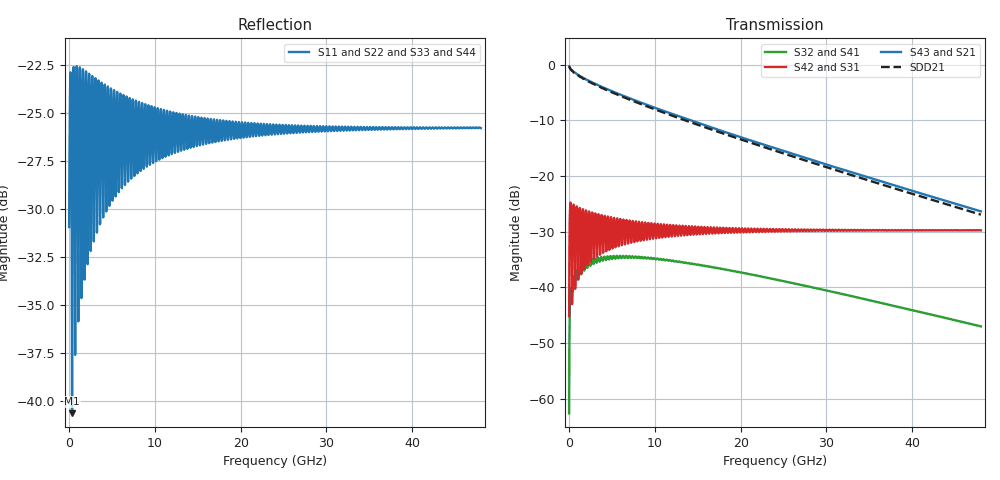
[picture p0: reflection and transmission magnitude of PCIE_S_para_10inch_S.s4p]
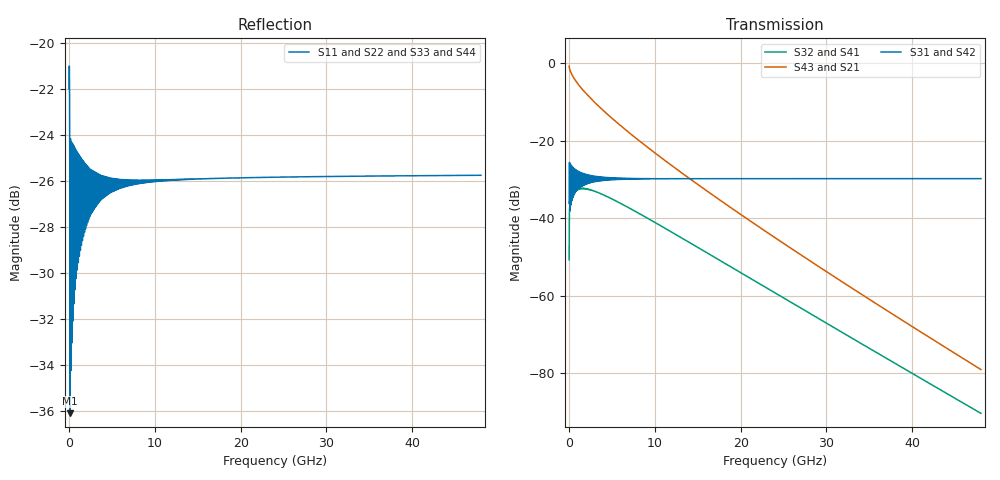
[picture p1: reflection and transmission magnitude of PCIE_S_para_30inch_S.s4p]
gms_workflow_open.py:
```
"""
GMS Extraction Tool (Generalized Modal S-parameters)
====================================================

Description:
    This script implements the Generalized Modal S-parameters (GMS) extraction method.
    It supports two modes:
    1. Dual Line De-embedding: Extracts GMS from two transmission lines (Short & Long).
       Method: M = T_long * inv(T_short) -> Eigenvalue Decomposition
    2. Single Line Mode: Analyzes a single transmission line (mostly for verification).
       Method: Eigenvalue Decomposition of T-matrix

    本脚本实现了通用模态 S 参数 (GMS) 提取方法。
    支持两种模式：
    1. 双线去嵌模式：从两条传输线（短线和长线）提取 GMS。
       原理：M = T_long * inv(T_short) -> 特征值分解
    2. 单线模式：分析单条传输线（主要用于验证）。
       原理：T 矩阵的特征值分解

Author: [Your Name/GitHub Username]
License: MIT License
Date: 2026-02-26
"""

import argparse
import datetime
import os
import sys

import matplotlib.pyplot as plt
import numpy as np
import skrf as rf

# ==========================================
# 默认配置区域 / Default Configuration
# ==========================================
# 获取脚本所在目录，确保默认文件路径正确
# Get script directory to ensure default file paths are correct
SCRIPT_DIR = os.path.dirname(os.path.abspath(__file__))

# 如果不使用命令行参数，将使用以下默认值
# If command line arguments are not provided, these defaults are used.

# 默认启用双线去嵌模式 / Default to Dual Line De-embedding
DEFAULT_ENABLE_DEEMBBEDDING = False

# 默认文件名 / Default Filenames
DEFAULT_SHORT = os.path.join(SCRIPT_DIR, 'PCIE_S_para_10inch_S.s4p')
DEFAULT_LONG = os.path.join(SCRIPT_DIR, 'PCIE_S_para_30inch_S.s4p')
DEFAULT_SINGLE = os.path.join(SCRIPT_DIR, 'PCIE_S_para_10inch_S.s4p')
# ==========================================


def setup_args():
    """配置命令行参数 / Setup command line arguments"""
    parser = argparse.ArgumentParser(
        description="GMS Parameters Extraction Tool / GMS 参数提取工具"
    )
    
    # Mode selection
    mode_group = parser.add_mutually_exclusive_group()
    mode_group.add_argument('--dual', action='store_true', help='Enable Dual Line De-embedding mode (Default if files provided)')
    mode_group.add_argument('--single', action='store_true', help='Enable Single Line mode')

    # File paths
    parser.add_argument('--short', type=str, default=DEFAULT_SHORT, help='Path to Short Line .s4p file')
    parser.add_argument('--long', type=str, default=DEFAULT_LONG, help='Path to Long Line .s4p file')
    parser.add_argument('--target', type=str, default=DEFAULT_SINGLE, help='Path to Single Line .s4p file (for single mode)')
    
    parser.add_argument('--no-plot', action='store_true', help='Disable plotting / 禁用绘图')

    return parser.parse_args()


def load_network(file_path):
    """安全加载 Touchstone 文件 / Safely load Touchstone file"""
    if not os.path.exists(file_path):
        raise FileNotFoundError(f"File not found: {file_path}")
    
    try:
        nw = rf.Network(file_path)
        print(f"  [LOADED] {os.path.basename(file_path)} | Points: {len(nw.f)} | Ports: {nw.nports}")
        return nw
    except Exception as e:
        raise ValueError(f"Failed to load {file_path}. Error: {e}")


def convert_to_diff_sdd(nw):
    """
    将 4 端口网络转换为差分 Sdd 参数。
    Handle Single-Ended vs. Differential logic.
    Assumed Port Mapping: P:1,3 (Input) -> P:2,4 (Output) which is non-standard.
    We convert it to standard skrf expectation.
    """
    if nw.nports == 2:
        return nw.s
    elif nw.nports == 4:
        # P: 1(0)-2(1), N: 3(2)-4(3) -> Standard: In(0,2)->Diff1, Out(1,3)->Diff2
        # Permutation to [0, 2, 1, 3] converts user mapping to skrf expected mapping
        perm = [0, 2, 1, 3]
        s_orig = nw.s
        s_perm = s_orig[:, perm, :][:, :, perm]
        
        nw_perm = rf.Network(frequency=nw.frequency, s=s_perm)
        nw_perm.se2gmm(p=2)
        # Extract Sdd (differential-to-differential) which is the first 2x2 block
        return nw_perm.s[:, 0:2, 0:2]
    else:
        raise ValueError(f"Unsupported number of ports: {nw.nports}. Only 2 and 4 supported.")


def calculate_eigenvalues(t_matrix_series):
    """
    计算 T 矩阵序列的特征值
    Compute eigenvalues for a series of T-matrices
    """
    num_points = len(t_matrix_series)
    lambda_forward = np.zeros(num_points, dtype=complex)
    
    for i in range(num_points):
        T = t_matrix_series[i]
        try:
            eigenvalues = np.linalg.eigvals(T)
            # Select eigenvalue with magnitude <= 1 (passive forward transmission)
            # sorting by magnitude usually works for passive lines
            # abs(e^-gamma*L) <= 1
            if np.abs(eigenvalues[0]) < np.abs(eigenvalues[1]):
                lambda_forward[i] = eigenvalues[0]
            else:
                lambda_forward[i] = eigenvalues[1]
        except np.linalg.LinAlgError:
            lambda_forward[i] = np.nan + 1j * np.nan
            
    return lambda_forward


def extract_gms_single(file_path):
    """Single Line Extraction Logic"""
    print(f"--- Single Line Mode: {file_path} ---")
    nw = load_network(file_path)
    freq = nw.f
    
    # 1. Get Sdd
    s_mat = convert_to_diff_sdd(nw)
    
    # 2. S -> T
    t_mat = rf.s2t(s_mat)
    
    # 3. Eigenvalues
    lambda_forward = calculate_eigenvalues(t_mat)
    
    return freq, lambda_forward


def extract_gms_dual(file_short_path, file_long_path):
    """Dual Line De-embedding Logic"""
    print(f"--- Dual Line Mode ---\n  Short: {file_short_path}\n  Long:  {file_long_path}")
    nw_short = load_network(file_short_path)
    nw_long = load_network(file_long_path)
    
    if not np.array_equal(nw_short.f, nw_long.f):
        raise ValueError("Frequency mismatch between Short and Long files.")
    
    freq = nw_short.f
    
    # 1. Get Sdd
    s_short = convert_to_diff_sdd(nw_short)
    s_long = convert_to_diff_sdd(nw_long)
    
    # 2. S -> T
    t_short = rf.s2t(s_short)
    t_long = rf.s2t(s_long)
    
    # 3. De-embedding (M = T_long * inv(T_short))
    num_points = len(freq)
    m_series = np.zeros_like(t_long)
    
    for i in range(num_points):
        try:
            t1_inv = np.linalg.inv(t_short[i])
            m_series[i] = np.matmul(t_long[i], t1_inv)
        except np.linalg.LinAlgError:
             # Identity matrix as fallback or NaN
            m_series[i] = np.eye(2) 
            
    # 4. Eigenvalues of M
    lambda_forward = calculate_eigenvalues(m_series)
    
    return freq, lambda_forward


def save_results(script_dir, freq, lambda_forward, base_name, suffix):
    """Save results to .s4p file"""
    # Create GMS S-matrix (S21=S12=S34=S43=lambda, others=0)
    num_points = len(freq)
    s_gms = np.zeros((num_points, 4, 4), dtype=complex)
    
    # Map lambda to transmission parameters
    # S21 (1,0), S12 (0,1), S43 (3,2), S34 (2,3)
    s_gms[:, 1, 0] = lambda_forward
    s_gms[:, 0, 1] = lambda_forward
    s_gms[:, 3, 2] = lambda_forward
    s_gms[:, 2, 3] = lambda_forward
    
    nw_gms = rf.Network(frequency=rf.Frequency.from_f(freq, unit='hz'), s=s_gms)
    
    timestamp_str = datetime.datetime.now().strftime("%Y%m%d_%H%M%S")
    output_filename = f"{timestamp_str}_{base_name}_{suffix}.s4p"
    output_path = os.path.join(script_dir, output_filename)
    
    nw_gms.write_touchstone(output_path)
    print(f"\n[SUCCESS] GMS parameters saved to:\n  -> {output_path}")
    return output_path


def plot_results(freq, lambda_forward, title_suffix):
    """Plot Magnitude and Phase"""
    mag_db = 20 * np.log10(np.abs(lambda_forward) + 1e-15)
    # Phase unwrapping and wrapping to 360
    phase_rad = np.unwrap(np.angle(lambda_forward))
    phase_deg = np.degrees(phase_rad) % 360
    
    freq_ghz = freq / 1e9
    
    fig, (ax1, ax2) = plt.subplots(2, 1, figsize=(10, 8))
    
    ax1.plot(freq_ghz, mag_db, label='GMS S21', color='#1f77b4')
    ax1.set_title(f'GMS S21 Magnitude ({title_suffix})')
    ax1.set_ylabel('Magnitude (dB)')
    ax1.set_xlabel('Frequency (GHz)')
    ax1.grid(True, alpha=0.3)
    ax1.legend()
    
    ax2.plot(freq_ghz, phase_deg, label='Phase', color='#d62728')
    ax2.set_title(f'GMS S21 Phase ({title_suffix})')
    ax2.set_ylabel('Phase (Degrees)')
    ax2.set_xlabel('Frequency (GHz)')
    ax2.grid(True, alpha=0.3)
    ax2.legend()
    
    plt.tight_layout()
    print("Displaying plot... (Close window to exit)")
    plt.show()


def main():
    args = setup_args()
    script_dir = os.path.dirname(os.path.abspath(__file__))
    
    # Determine mode logic
    # Priority: Command line flags > Default Global Variable
    if args.dual:
        use_dual_mode = True
    elif args.single:
        use_dual_mode = False
    else:
        # Fallback to variable if no flag specified
        # If files for dual mode are provided via args, prefer dual mode?
        # Actually, let's stick to the explicit flag or global default
        use_dual_mode = DEFAULT_ENABLE_DEEMBBEDDING

    try:
        if use_dual_mode:
            file_short = os.path.abspath(args.short)
            file_long = os.path.abspath(args.long)
            
            # Allow fallback to default if args are default but files don't exist?
            # No, keep it strict to what is provided/defaulted.
            
            base_name = os.path.splitext(os.path.basename(file_long))[0]
            
            freq, lambda_val = extract_gms_dual(file_short, file_long)
            mode_label = "diffline_deembedded"
        else:
            file_single = os.path.abspath(args.target)
            base_name = os.path.splitext(os.path.basename(file_single))[0]
            
            freq, lambda_val = extract_gms_single(file_single)
            mode_label = "diffline_single"
            
        save_results(script_dir, freq, lambda_val, base_name, mode_label)
        
        if not args.no_plot:
            plot_results(freq, lambda_val, mode_label)
            
    except Exception as e:
        # Print full traceback for debugging if needed, but keep it clean for users
        import traceback
        traceback.print_exc()
        print(f"\n[ERROR] Execution failed: {e}")
        sys.exit(1)

if __name__ == '__main__':
    main()
```
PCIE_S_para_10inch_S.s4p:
#	Hz	S	MA	R	50
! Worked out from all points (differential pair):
!   4800 points, 10 MHz to 48 GHz, reference 50 ohm
!   strongest paths, dB at 10 MHz, 12.01 GHz, 24.01 GHz, 36.01 GHz, 48 GHz:
!     S43: -0.3, -8.8, -15.0, -20.8, -26.4
!     S21: -0.3, -8.8, -15.0, -20.8, -26.4
!     S42: -45.2, -30.6, -30.0, -29.8, -29.8
!     S31: -45.2, -30.6, -30.0, -29.8, -29.8
!     S32: -62.7, -35.2, -38.6, -42.7, -47.0
!     S41: -62.7, -35.2, -38.6, -42.7, -47.0
!   taken as a pair (ports 3,1 in; 4,2 out), SDD21 dB: -0.3, -9.1, -15.4, -21.3, -26.9
!   lowest |S11| = -40.6 dB at 350 MHz (marker M1), VSWR 1.02, Z = 49.1 - j0.0445 ohm
!   |S11| at or under -10 dB: start of sweep to end of sweep
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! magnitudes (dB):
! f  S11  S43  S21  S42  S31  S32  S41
! 10 MHz  -30.9  -0.3  -0.3  -45.2  -45.2  -62.7  -62.7
! 350 MHz  -40.6  -1.0  -1.0  -43.0  -43.0  -42.1  -42.1
! 48 GHz  -25.8  -26.4  -26.4  -29.8  -29.8  -47.0  -47.0
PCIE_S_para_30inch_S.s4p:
#	Hz	S	MA	R	50
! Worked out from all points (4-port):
!   4800 points, 10 MHz to 48 GHz, reference 50 ohm
!   strongest paths, dB at 10 MHz, 12.01 GHz, 24.01 GHz, 36.01 GHz, 48 GHz:
!     S31: -36.1, -29.8, -29.8, -29.8, -29.8
!     S42: -36.1, -29.8, -29.8, -29.8, -29.8
!     S43: -0.8, -26.5, -45.0, -62.3, -79.0
!     S21: -0.8, -26.5, -45.0, -62.3, -79.0
!     S32: -50.7, -43.6, -59.2, -74.8, -90.3
!     S41: -50.7, -43.6, -59.2, -74.8, -90.3
!   lowest |S11| = -36.1 dB at 120 MHz (marker M1), VSWR 1.03, Z = 49.3 - j1.38 ohm
!   |S11| at or under -10 dB: start of sweep to end of sweep
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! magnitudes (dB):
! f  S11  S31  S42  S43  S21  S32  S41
! 10 MHz  -22.0  -36.1  -36.1  -0.8  -0.8  -50.7  -50.7
! 120 MHz  -36.1  -38.0  -38.0  -1.8  -1.8  -37.5  -37.5
! 48 GHz  -25.8  -29.8  -29.8  -79.0  -79.0  -90.3  -90.3
